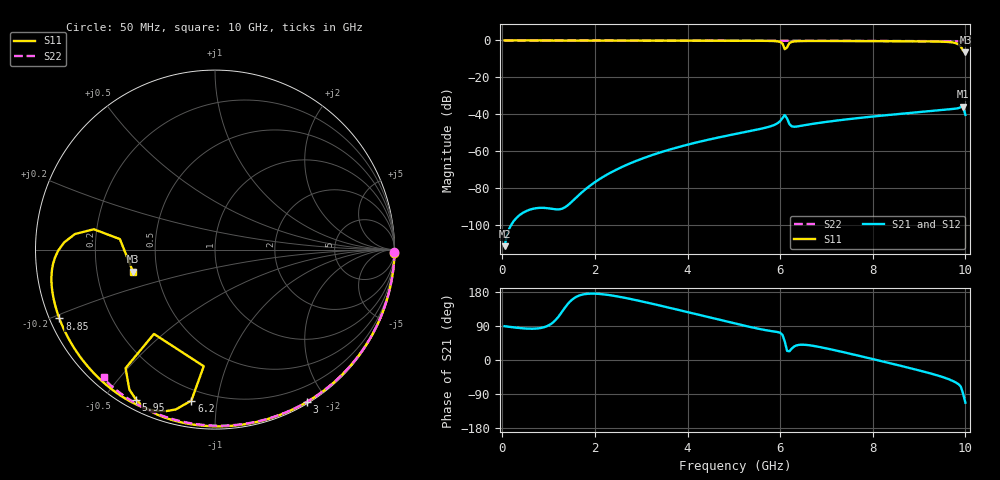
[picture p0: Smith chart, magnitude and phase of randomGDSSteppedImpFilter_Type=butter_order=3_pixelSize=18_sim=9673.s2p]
! freq	dB(S11)	phase(S11)	dB(S12)	phase(S12)
!  dB(S21)	phase(S21)	dB(S22)	phase(S22)
!S-par simulation data
#  GHz  S  DB  R 50
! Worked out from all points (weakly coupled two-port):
!   200 points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, 50 MHz to 10 GHz, reference 50 ohm
!   highest |S21| = -35.93 dB at 9.95 GHz (marker M1); lowest = -111.4 dB at 50 MHz (marker M2)
!   lowest |S11| = -6.5 dB at 10 GHz (marker M3), VSWR 2.80, Z = 18.1 - j5.74 ohm
!   |S11| at or under -10 dB: nowhere
!   |S22| runs from -0.6 to 0.0 dB; largest |S21 - S12| = 0
!   S11 on the Smith chart (normalised r, x): 50 MHz: open; 3 GHz: 0.02, -1.78; 5.95 GHz: 0.04, -0.60; 6.2 GHz: 0.14, -0.85; 8.85 GHz: 0.03, -0.21; 10 GHz: 0.36, -0.11
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0.05  -0.00 -1.0  -111.39 89.2  -111.39 89.2  -0.00 -0.8
1.75  -0.04 -34.9  -81.56 173.1  -81.56 173.1  -0.03 -26.2
1.85  -0.05 -36.9  -79.50 174.8  -79.50 174.8  -0.04 -27.7
2.45  -0.06 -48.4  -70.12 168.5  -70.12 168.5  -0.05 -36.4
3  -0.08 -58.8  -64.17 155.0  -64.17 155.0  -0.06 -44.3
3.4  -0.09 -66.1  -60.72 143.8  -60.72 143.8  -0.07 -49.9
5.05  -0.15 -95.8  -50.56 95.6  -50.56 95.6  -0.11 -72.2
5.7  -0.22 -108.8  -47.15 78.5  -47.15 78.5  -0.13 -80.6
5.95  -0.49 -117.8  -44.71 73.6  -44.71 73.6  -0.14 -83.8
6.05  -1.64 -127.0  -42.06 66.4  -42.06 66.4  -0.15 -85.0
6.1  -4.73 -125.9  -40.40 48.7  -40.40 48.7  -0.15 -85.7
6.15  -3.70 -95.5  -42.24 24.0  -42.24 24.0  -0.15 -86.3
6.2  -1.40 -98.9  -45.28 23.0  -45.28 23.0  -0.15 -86.9
6.35  -0.41 -109.4  -46.64 38.3  -46.64 38.3  -0.16 -88.8
6.7  -0.28 -118.8  -45.16 37.6  -45.16 37.6  -0.18 -93.1
8.35  -0.39 -147.4  -40.32 -7.8  -40.32 -7.8  -0.29 -112.7
8.85  -0.46 -156.2  -39.16 -22.8  -39.16 -22.8  -0.33 -118.5
9.7  -0.99 -177.2  -37.16 -53.7  -37.16 -53.7  -0.42 -128.2
9.85  -2.10 173.6  -36.66 -63.7  -36.66 -63.7  -0.46 -130.1
9.9  -3.29 170.5  -36.11 -70.1  -36.11 -70.1  -0.51 -130.7
9.95  -5.46 173.7  -35.93 -88.9  -35.93 -88.9  -0.56 -130.8
10  -6.49 -165.0  -40.29 -112.6  -40.29 -112.6  -0.52 -131.0
